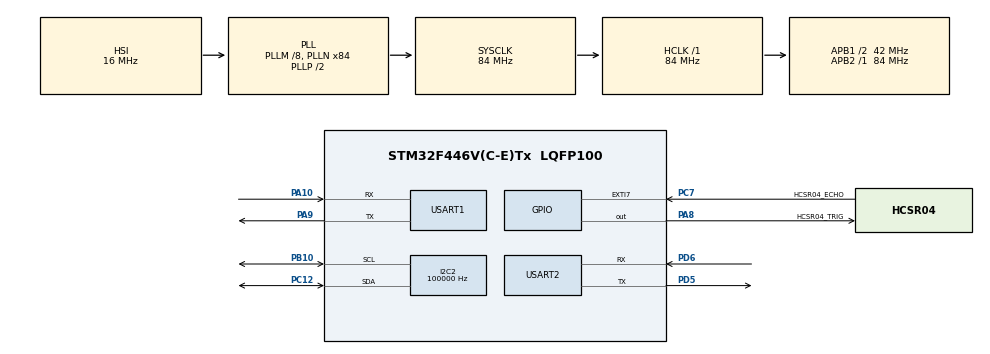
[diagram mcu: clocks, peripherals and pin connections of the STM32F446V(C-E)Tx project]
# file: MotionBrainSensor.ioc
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Mcu.Family=STM32F4
Mcu.Name=STM32F446V(C-E)Tx
Mcu.Package=LQFP100
NVIC.EXTI9_5_IRQn=true\:0\:0\:false\:false\:true\:true\:true\:true
NVIC.PriorityGroup=NVIC_PRIORITYGROUP_4
PA10.Mode=Asynchronous
PA10.Signal=USART1_RX
PA8.GPIO_Label=HCSR04_TRIG
PA8.Signal=GPIO_Output
PA9.Mode=Asynchronous
PA9.Signal=USART1_TX
PB10.Mode=I2C
PB10.Signal=I2C2_SCL
PC7.GPIO_Label=HCSR04_ECHO
PC7.GPIO_ModeDefaultEXTI=GPIO_MODE_IT_RISING_FALLING
PC7.Signal=GPXTI7
PC12.Mode=I2C
PC12.Signal=I2C2_SDA
PD5.Mode=Asynchronous
PD5.Signal=USART2_TX
PD6.Mode=Asynchronous
PD6.Signal=USART2_RX
ProjectManager.HeapSize=0x200
ProjectManager.StackSize=0x400
ProjectManager.TargetToolchain=STM32CubeIDE
I2C2.AddressingMode=I2C_ADDRESSINGMODE_7BIT
I2C2.ClockSpeed=100000
I2C2.DualAddressMode=I2C_DUALADDRESS_DISABLE
I2C2.DutyCycle=I2C_DUTYCYCLE_2
I2C2.GeneralCallMode=I2C_GENERALCALL_DISABLE
I2C2.NoStretchMode=I2C_NOSTRETCH_DISABLE
I2C2.OwnAddress1=0
I2C2.OwnAddress2=0
RCC.AHBFreq_Value=84000000
RCC.APB1CLKDivider=RCC_HCLK_DIV2
RCC.APB1Freq_Value=42000000
RCC.APB1TimFreq_Value=84000000
RCC.APB2Freq_Value=84000000
RCC.APB2TimFreq_Value=84000000
RCC.CortexFreq_Value=84000000
RCC.HCLKFreq_Value=84000000
RCC.PLLM=8
RCC.PLLN=84
RCC.SYSCLKFreq_VALUE=84000000
RCC.SYSCLKSource=RCC_SYSCLKSOURCE_PLLCLK
RCC.USBFreq_Value=84000000
RCC.VCOOutputFreq_Value=168000000
TIM3.AutoReloadPreload=TIM_AUTORELOAD_PRELOAD_ENABLE
TIM3.Period=4999
TIM3.Prescaler=83
USART1.VirtualMode=VM_ASYNC
USART2.VirtualMode=VM_ASYNC
VP_TIM3_VS_ClockSourceINT.Mode=Internal
board=custom
NVIC.TIM3_IRQn=true\:1\:0\:false\:false\:true\:true\:true\:true

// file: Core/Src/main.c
/* USER CODE BEGIN Header */
/**
  ******************************************************************************
  * @file           : main.c
  * @brief          : Main program body
  ******************************************************************************
  * @attention
  *
  * Copyright (c) 2026 STMicroelectronics.
  * All rights reserved.
  *
  * This software is licensed under terms that can be found in the LICENSE file
  * in the root directory of this software component.
  * If no LICENSE file comes with this software, it is provided AS-IS.
  *
  ******************************************************************************
  */
/* USER CODE END Header */
#include "main.h"
#include "i2c.h"
#include "tim.h"
#include "usart.h"
#include "gpio.h"

/* USER CODE BEGIN Includes */
#include "mpu6050.h"
#include <math.h>
#include <stdio.h>
#include <string.h>
/* USER CODE END Includes */

/* USER CODE BEGIN PD */
#define APP_MODE_SENSOR_BRIDGE 0U
#define APP_MODE_TELEOP_REMOTE 1U
#define APP_MODE APP_MODE_TELEOP_REMOTE
#define SAFETY_TELEMETRY_ENABLED ((APP_MODE == APP_MODE_SENSOR_BRIDGE) || (APP_MODE == APP_MODE_TELEOP_REMOTE))
#define TELEOP_DIAGNOSTIC_BUTTON_SCAN 0U

#define MPU_SAMPLE_RATE_HZ 200U
#define SENSOR_TX_RATE_HZ 10U
#define TELEOP_TX_RATE_HZ 25U
#define MPU_CALIBRATION_SAMPLES 400U
#define MPU_FILTER_TAU_SEC 0.5f
#define MPU_BOOT_PROBE_ATTEMPTS 4U
#define MPU_PROBE_RETRY_DELAY_MS 250U
#define MPU_RUNTIME_RETRY_INTERVAL_MS 5000U
#define HCSR04_ENABLED 0U
#define HCSR04_TRIGGER_INTERVAL_MS 100U
#define HCSR04_TIMEOUT_US 30000U
#define HCSR04_MAX_VALID_CM 400.0f
#define HCSR04_CM_PER_US 0.01715f

#define MPU_STATUS_NOT_PROBED 0U
#define MPU_STATUS_READY 1U
#define MPU_STATUS_PROBE_FAIL 2U
#define MPU_STATUS_WHOAMI_FAIL 3U
#define MPU_STATUS_INIT_FAIL 4U
#define MPU_STATUS_CALIB_FAIL 5U
#define MPU_STATUS_READ_FAIL 6U

// Handheld remote v1 provisional button map.
// B-F446E-96B01A에서 현재 바로 꽂기 쉬운 Arduino digital header 기준.
// 현재 사용 중인 D1(UART TX), D2/D3(HC-SR04), D14/D15(I2C2)를 피하고
// 완전히 비어 있는 D9/D10/D11/D13만 버튼 입력으로 사용한다.
#define TELEOP_DEADMAN_GPIO_Port GPIOE
#define TELEOP_DEADMAN_Pin GPIO_PIN_4   // Arduino D10
#define TELEOP_LED_GPIO_Port GPIOB
#define TELEOP_LED_Pin GPIO_PIN_4       // Arduino D9
#define TELEOP_LED_ALT_ENABLED 0U
#define TELEOP_LED_ALT_GPIO_Port GPIOD
#define TELEOP_LED_ALT_Pin GPIO_PIN_15  // Arduino D5 fallback
#define TELEOP_GRIP_OPEN_GPIO_Port GPIOE
#define TELEOP_GRIP_OPEN_Pin GPIO_PIN_2 // Arduino D13
#define TELEOP_GRIP_OPEN_ALT_ENABLED 0U
#define TELEOP_GRIP_OPEN_ALT_GPIO_Port GPIOD
#define TELEOP_GRIP_OPEN_ALT_Pin GPIO_PIN_2 // Arduino D4 fallback
#define TELEOP_GRIP_CLOSE_GPIO_Port GPIOE
#define TELEOP_GRIP_CLOSE_Pin GPIO_PIN_6 // Arduino D11

#define DIAG_G1_D4_GPIO_Port GPIOD
#define DIAG_G1_D4_Pin GPIO_PIN_2
#define DIAG_G1_D5_GPIO_Port GPIOD
#define DIAG_G1_D5_Pin GPIO_PIN_15
#define DIAG_G1_D6_GPIO_Port GPIOD
#define DIAG_G1_D6_Pin GPIO_PIN_14
#define DIAG_G1_D7_GPIO_Port GPIOD
#define DIAG_G1_D7_Pin GPIO_PIN_13
#define DIAG_G1_D8_GPIO_Port GPIOE
#define DIAG_G1_D8_Pin GPIO_PIN_3
#define DIAG_G1_D9_GPIO_Port GPIOB
#define DIAG_G1_D9_Pin GPIO_PIN_4
#define DIAG_G1_D10_GPIO_Port GPIOE
#define DIAG_G1_D10_Pin GPIO_PIN_4
#define DIAG_G1_D11_GPIO_Port GPIOE
#define DIAG_G1_D11_Pin GPIO_PIN_6

#define DIAG_G2_D12_GPIO_Port GPIOE
#define DIAG_G2_D12_Pin GPIO_PIN_5
#define DIAG_G2_D13_GPIO_Port GPIOE
#define DIAG_G2_D13_Pin GPIO_PIN_2
#define DIAG_G2_A0_GPIO_Port GPIOA
#define DIAG_G2_A0_Pin GPIO_PIN_1
#define DIAG_G2_A1_GPIO_Port GPIOA
#define DIAG_G2_A1_Pin GPIO_PIN_2
#define DIAG_G2_A2_GPIO_Port GPIOC
#define DIAG_G2_A2_Pin GPIO_PIN_3
#define DIAG_G2_A3_GPIO_Port GPIOC
#define DIAG_G2_A3_Pin GPIO_PIN_2
#define DIAG_G2_A4_GPIO_Port GPIOB
#define DIAG_G2_A4_Pin GPIO_PIN_1
#define DIAG_G2_A5_GPIO_Port GPIOC
#define DIAG_G2_A5_Pin GPIO_PIN_0

#define DIAG_G3_PA0_GPIO_Port GPIOA
#define DIAG_G3_PA0_Pin GPIO_PIN_0
#define DIAG_G3_PA4_GPIO_Port GPIOA
#define DIAG_G3_PA4_Pin GPIO_PIN_4
#define DIAG_G3_PB0_GPIO_Port GPIOB
#define DIAG_G3_PB0_Pin GPIO_PIN_0

#define TELEOP_BUTTON_ACTIVE_STATE GPIO_PIN_RESET
#define TELEOP_BUTTON_PULL GPIO_PULLUP

#define TELEOP_REACH_SIGN 1.0f
#define TELEOP_LIFT_SIGN 1.0f
#define TELEOP_TWIST_SIGN 1.0f

#define TELEOP_ANGLE_DEADZONE_DEG 6.0f
#define TELEOP_ANGLE_FULL_SCALE_DEG 45.0f
#define TELEOP_TWIST_RATE_DEADZONE_DPS 2.0f
#define TELEOP_TWIST_ANGLE_DEADZONE_DEG 6.0f
#define TELEOP_TWIST_ANGLE_FULL_SCALE_DEG 35.0f
#define TELEOP_TWIST_ANGLE_LIMIT_DEG 60.0f
/* USER CODE END PD */

/* USER CODE BEGIN PV */
static uint16_t g_mpu_addr = 0;
static uint8_t g_mpu_ready = 0;
static uint8_t g_imu_ok = 0;
static uint32_t g_mpu_status = MPU_STATUS_NOT_PROBED;
static uint32_t g_mpu_error = 0;
static uint32_t g_last_mpu_retry_ms = 0;
static volatile uint32_t g_sample_due_count = 0;
static float g_gyro_bias_x_dps = 0.0f;
static float g_gyro_bias_y_dps = 0.0f;
static float g_gyro_bias_z_dps = 0.0f;
static float g_roll_deg = 0.0f;
static float g_pitch_deg = 0.0f;
static float g_gyro_x_dps = 0.0f;
static float g_gyro_y_dps = 0.0f;
static float g_gyro_z_dps = 0.0f;
static float g_vibe = 0.0f;
static uint8_t g_attitude_ready = 0;
#if APP_MODE == APP_MODE_SENSOR_BRIDGE
static uint32_t g_tx_divider = 0;
#endif
#if APP_MODE == APP_MODE_TELEOP_REMOTE
static uint32_t g_last_teleop_tx_ms = 0;
#endif
#if SAFETY_TELEMETRY_ENABLED
static float g_distance_cm = 0.0f;
static uint8_t g_range_ok = HCSR04_ENABLED ? 0U : 1U;
static uint32_t g_last_hcsr04_trigger_ms = 0;
#if HCSR04_ENABLED
static uint32_t g_hcsr04_trigger_started_us = 0;
static volatile uint32_t g_hcsr04_rise_us = 0;
static volatile uint32_t g_hcsr04_echo_width_us = 0;
static volatile uint8_t g_hcsr04_waiting_for_fall = 0;
static volatile uint8_t g_hcsr04_measurement_ready = 0;
#endif
static volatile uint8_t g_hcsr04_echo_pending = 0;
#endif
static uint32_t g_teleop_session = 0;
static uint32_t g_teleop_sequence = 0;
static uint32_t g_teleop_led_toggle_seq = 0;
static uint8_t g_deadman_active = 0;
static uint8_t g_prev_deadman_pressed = 0;
static uint8_t g_prev_led_button_pressed = 0;
static float g_teleop_neutral_roll_deg = 0.0f;
static float g_teleop_neutral_pitch_deg = 0.0f;
static float g_teleop_twist_angle_deg = 0.0f;
/* USER CODE END PV */

void SystemClock_Config(void);

/* USER CODE BEGIN 0 */
// ITM SWV printf 리다이렉트 (SWO 핀 -> STM32CubeIDE SWV Console)
int _write(int file, char *ptr, int len)
{
    (void)file;
    for (int i = 0; i < len; i++) {
        ITM_SendChar((uint32_t)ptr[i]);
    }
    return len;
}

static void EnableCycleCounter(void)
{
    CoreDebug->DEMCR |= CoreDebug_DEMCR_TRCENA_Msk;
    DWT->CYCCNT = 0U;
    DWT->CTRL |= DWT_CTRL_CYCCNTENA_Msk;
}

#if SAFETY_TELEMETRY_ENABLED && HCSR04_ENABLED
static uint32_t Micros(void)
{
    return DWT->CYCCNT / (HAL_RCC_GetHCLKFreq() / 1000000UL);
}

static void DelayUs(uint32_t delay_us)
{
    uint32_t start = Micros();
    while ((Micros() - start) < delay_us) {
    }
}
#endif

static void RecoverI2c2Bus(void)
{
    GPIO_InitTypeDef GPIO_InitStruct = {0};

    __HAL_RCC_GPIOB_CLK_ENABLE();
    __HAL_RCC_GPIOC_CLK_ENABLE();

    GPIO_InitStruct.Mode = GPIO_MODE_OUTPUT_OD;
    GPIO_InitStruct.Pull = GPIO_PULLUP;
    GPIO_InitStruct.Speed = GPIO_SPEED_FREQ_LOW;

    GPIO_InitStruct.Pin = GPIO_PIN_10;
    HAL_GPIO_Init(GPIOB, &GPIO_InitStruct);
    GPIO_InitStruct.Pin = GPIO_PIN_12;
    HAL_GPIO_Init(GPIOC, &GPIO_InitStruct);

    HAL_GPIO_WritePin(GPIOB, GPIO_PIN_10, GPIO_PIN_SET);
    HAL_GPIO_WritePin(GPIOC, GPIO_PIN_12, GPIO_PIN_SET);
    HAL_Delay(2);

    for (uint32_t i = 0; i < 18U && HAL_GPIO_ReadPin(GPIOC, GPIO_PIN_12) == GPIO_PIN_RESET; ++i) {
        HAL_GPIO_WritePin(GPIOB, GPIO_PIN_10, GPIO_PIN_RESET);
        for (volatile uint32_t delay = 0; delay < 120U; ++delay) {
        }
        HAL_GPIO_WritePin(GPIOB, GPIO_PIN_10, GPIO_PIN_SET);
        for (volatile uint32_t delay = 0; delay < 120U; ++delay) {
        }
    }

    HAL_GPIO_WritePin(GPIOC, GPIO_PIN_12, GPIO_PIN_RESET);
    for (volatile uint32_t delay = 0; delay < 120U; ++delay) {
    }
    HAL_GPIO_WritePin(GPIOB, GPIO_PIN_10, GPIO_PIN_SET);
    for (volatile uint32_t delay = 0; delay < 120U; ++delay) {
    }
    HAL_GPIO_WritePin(GPIOC, GPIO_PIN_12, GPIO_PIN_SET);
    HAL_Delay(2);
}

static void ReinitializeI2c2Bus(void)
{
    HAL_StatusTypeDef deinit = HAL_I2C_DeInit(&hi2c2);
    printf("I2C2 deinit before recovery: ret=%d\r\n", deinit);
    RecoverI2c2Bus();
    MX_I2C2_Init();
}

static uint8_t ProbeMpu6050(I2C_HandleTypeDef *hi2c)
{
    const uint16_t addresses[] = {0x68 << 1, 0x69 << 1};
    g_mpu_addr = 0;
    g_mpu_ready = 0;
    g_imu_ok = 0;
    g_mpu_status = MPU_STATUS_PROBE_FAIL;
    g_mpu_error = 0;

    for (size_t i = 0; i < (sizeof(addresses) / sizeof(addresses[0])); ++i) {
        uint16_t addr = addresses[i];
        HAL_StatusTypeDef ready = HAL_I2C_IsDeviceReady(hi2c, addr, 3, 100);
        uint32_t err = HAL_I2C_GetError(hi2c);
        g_mpu_error = err;

        printf("Probe 0x%02X: ready=%d err=0x%08lX\r\n",
               addr >> 1,
               ready,
               (unsigned long)err);

        if (ready != HAL_OK) {
            continue;
        }

        uint8_t who = 0;
        HAL_StatusTypeDef check = MPU6050_Check(hi2c, addr, &who);
        g_mpu_error = HAL_I2C_GetError(hi2c);
        printf("WHO_AM_I@0x%02X: ret=%d who=0x%02X err=0x%08lX\r\n",
               addr >> 1,
               check,
               who,
               (unsigned long)HAL_I2C_GetError(hi2c));

        if (check != HAL_OK) {
            g_mpu_status = MPU_STATUS_WHOAMI_FAIL;
            continue;
        }

        HAL_StatusTypeDef init = MPU6050_InitAt(hi2c, addr);
        g_mpu_error = HAL_I2C_GetError(hi2c);
        printf("Init 0x%02X: ret=%d err=0x%08lX\r\n",
               addr >> 1,
               init,
               (unsigned long)HAL_I2C_GetError(hi2c));

        if (init == HAL_OK) {
            g_mpu_addr = addr;
            g_mpu_ready = 1;
            g_mpu_status = MPU_STATUS_READY;
            return 1U;
        }
        g_mpu_status = MPU_STATUS_INIT_FAIL;
    }

    return 0U;
}

static void PrintFixed3(const char *label, float value)
{
    long scaled = lroundf(value * 1000.0f);
    unsigned long abs_scaled;

    if (scaled < 0) {
        abs_scaled = (unsigned long)(-scaled);
        printf("%s=-%lu.%03lu", label, abs_scaled / 1000UL, abs_scaled % 1000UL);
    } else {
        abs_scaled = (unsigned long)scaled;
        printf("%s=%lu.%03lu", label, abs_scaled / 1000UL, abs_scaled % 1000UL);
    }
}

static void FormatFixedValue(char *buffer, size_t size, float value, uint32_t scale, uint8_t decimals)
{
    long scaled = lroundf(value * (float)scale);
    unsigned long abs_scaled = (scaled < 0) ? (unsigned long)(-scaled) : (unsigned long)scaled;
    unsigned long whole = abs_scaled / scale;
    unsigned long fraction = abs_scaled % scale;
    const char *sign = (scaled < 0) ? "-" : "";

    if (decimals == 1U) {
        snprintf(buffer, size, "%s%lu.%01lu", sign, whole, fraction);
    } else if (decimals == 2U) {
        snprintf(buffer, size, "%s%lu.%02lu", sign, whole, fraction);
    } else {
        snprintf(buffer, size, "%s%lu.%03lu", sign, whole, fraction);
    }
}

static void TransmitFormattedPacket(char *buffer, size_t size, int length)
{
    if (length <= 0 || size == 0U) {
        return;
    }
    if ((size_t)length >= size) {
        return;
    }
    HAL_UART_Transmit(&huart2, (uint8_t *)buffer, (uint16_t)length, 50U);
}

#if SAFETY_TELEMETRY_ENABLED
static void TriggerHcsr04(void)
{
#if HCSR04_ENABLED
    HAL_GPIO_WritePin(HCSR04_TRIG_GPIO_Port, HCSR04_TRIG_Pin, GPIO_PIN_RESET);
    DelayUs(2U);
    HAL_GPIO_WritePin(HCSR04_TRIG_GPIO_Port, HCSR04_TRIG_Pin, GPIO_PIN_SET);
    DelayUs(10U);
    HAL_GPIO_WritePin(HCSR04_TRIG_GPIO_Port, HCSR04_TRIG_Pin, GPIO_PIN_RESET);

    g_hcsr04_trigger_started_us = Micros();
    g_hcsr04_echo_pending = 1U;
    g_hcsr04_waiting_for_fall = 0U;
#else
    g_distance_cm = 0.0f;
    g_range_ok = 1U;
#endif
}

static void UpdateRangeMeasurement(void)
{
#if HCSR04_ENABLED
    uint8_t measurement_ready = 0U;
    uint32_t pulse_width_us = 0U;

    __disable_irq();
    if (g_hcsr04_measurement_ready) {
        measurement_ready = 1U;
        pulse_width_us = g_hcsr04_echo_width_us;
        g_hcsr04_measurement_ready = 0U;
    }
    __enable_irq();

    if (measurement_ready) {
        g_distance_cm = (float)pulse_width_us * HCSR04_CM_PER_US;
        g_range_ok = (g_distance_cm > 0.0f && g_distance_cm <= HCSR04_MAX_VALID_CM) ? 1U : 0U;
        return;
    }

    if (g_hcsr04_echo_pending && (Micros() - g_hcsr04_trigger_started_us) > HCSR04_TIMEOUT_US) {
        g_hcsr04_echo_pending = 0U;
        g_hcsr04_waiting_for_fall = 0U;
        g_range_ok = 0U;
        g_distance_cm = 0.0f;
        printf("HC-SR04 timeout\r\n");
    }
#else
    g_distance_cm = 0.0f;
    g_range_ok = 1U;
#endif
}
#endif

static float ClampUnit(float value)
{
    if (value > 1.0f) {
        return 1.0f;
    }
    if (value < -1.0f) {
        return -1.0f;
    }
    return value;
}

static uint8_t ReadButton(GPIO_TypeDef *port, uint16_t pin)
{
    GPIO_PinState state = HAL_GPIO_ReadPin(port, pin);
    return (state == TELEOP_BUTTON_ACTIVE_STATE) ? 1U : 0U;
}

#if TELEOP_DIAGNOSTIC_BUTTON_SCAN
static uint8_t ReadDiagnosticGroup1Mask(void)
{
    uint8_t mask = 0U;
    if (ReadButton(DIAG_G1_D4_GPIO_Port, DIAG_G1_D4_Pin)) mask |= 0x01U;
    if (ReadButton(DIAG_G1_D5_GPIO_Port, DIAG_G1_D5_Pin)) mask |= 0x02U;
    if (ReadButton(DIAG_G1_D6_GPIO_Port, DIAG_G1_D6_Pin)) mask |= 0x04U;
    if (ReadButton(DIAG_G1_D7_GPIO_Port, DIAG_G1_D7_Pin)) mask |= 0x08U;
    if (ReadButton(DIAG_G1_D8_GPIO_Port, DIAG_G1_D8_Pin)) mask |= 0x10U;
    if (ReadButton(DIAG_G1_D9_GPIO_Port, DIAG_G1_D9_Pin)) mask |= 0x20U;
    if (ReadButton(DIAG_G1_D10_GPIO_Port, DIAG_G1_D10_Pin)) mask |= 0x40U;
    if (ReadButton(DIAG_G1_D11_GPIO_Port, DIAG_G1_D11_Pin)) mask |= 0x80U;
    return mask;
}

static uint8_t ReadDiagnosticGroup2Mask(void)
{
    uint8_t mask = 0U;
    if (ReadButton(DIAG_G2_D12_GPIO_Port, DIAG_G2_D12_Pin)) mask |= 0x01U;
    if (ReadButton(DIAG_G2_D13_GPIO_Port, DIAG_G2_D13_Pin)) mask |= 0x02U;
    if (ReadButton(DIAG_G2_A0_GPIO_Port, DIAG_G2_A0_Pin)) mask |= 0x04U;
    if (ReadButton(DIAG_G2_A1_GPIO_Port, DIAG_G2_A1_Pin)) mask |= 0x08U;
    if (ReadButton(DIAG_G2_A2_GPIO_Port, DIAG_G2_A2_Pin)) mask |= 0x10U;
    if (ReadButton(DIAG_G2_A3_GPIO_Port, DIAG_G2_A3_Pin)) mask |= 0x20U;
    if (ReadButton(DIAG_G2_A4_GPIO_Port, DIAG_G2_A4_Pin)) mask |= 0x40U;
    if (ReadButton(DIAG_G2_A5_GPIO_Port, DIAG_G2_A5_Pin)) mask |= 0x80U;
    return mask;
}

static uint8_t ReadDiagnosticGroup3Mask(void)
{
    uint8_t mask = 0U;
    if (ReadButton(DIAG_G3_PA0_GPIO_Port, DIAG_G3_PA0_Pin)) mask |= 0x01U;
    if (ReadButton(DIAG_G3_PA4_GPIO_Port, DIAG_G3_PA4_Pin)) mask |= 0x02U;
    if (ReadButton(DIAG_G3_PB0_GPIO_Port, DIAG_G3_PB0_Pin)) mask |= 0x04U;
    return mask;
}
#endif

static uint8_t ReadEitherButton(GPIO_TypeDef *primaryPort, uint16_t primaryPin,
                                GPIO_TypeDef *alternatePort, uint16_t alternatePin)
{
    return (ReadButton(primaryPort, primaryPin) || ReadButton(alternatePort, alternatePin)) ? 1U : 0U;
}

static uint8_t ReadButtonWithOptionalAlternate(GPIO_TypeDef *primaryPort, uint16_t primaryPin,
                                               uint8_t alternateEnabled,
                                               GPIO_TypeDef *alternatePort, uint16_t alternatePin)
{
    if (!alternateEnabled) {
        return ReadButton(primaryPort, primaryPin);
    }
    return ReadEitherButton(primaryPort, primaryPin, alternatePort, alternatePin);
}

static void InitTeleopInputs(void)
{
    GPIO_InitTypeDef GPIO_InitStruct = {0};

    __HAL_RCC_GPIOA_CLK_ENABLE();
    __HAL_RCC_GPIOB_CLK_ENABLE();
    __HAL_RCC_GPIOC_CLK_ENABLE();
    __HAL_RCC_GPIOD_CLK_ENABLE();
    __HAL_RCC_GPIOE_CLK_ENABLE();

    GPIO_InitStruct.Mode = GPIO_MODE_INPUT;
    GPIO_InitStruct.Pull = TELEOP_BUTTON_PULL;
    GPIO_InitStruct.Speed = GPIO_SPEED_FREQ_LOW;

    GPIO_InitStruct.Pin = TELEOP_DEADMAN_Pin;
    HAL_GPIO_Init(TELEOP_DEADMAN_GPIO_Port, &GPIO_InitStruct);

    GPIO_InitStruct.Pin = TELEOP_LED_Pin;
    HAL_GPIO_Init(TELEOP_LED_GPIO_Port, &GPIO_InitStruct);

    GPIO_InitStruct.Pin = TELEOP_LED_ALT_Pin;
    HAL_GPIO_Init(TELEOP_LED_ALT_GPIO_Port, &GPIO_InitStruct);

    GPIO_InitStruct.Pin = TELEOP_GRIP_OPEN_Pin;
    HAL_GPIO_Init(TELEOP_GRIP_OPEN_GPIO_Port, &GPIO_InitStruct);

    GPIO_InitStruct.Pin = TELEOP_GRIP_OPEN_ALT_Pin;
    HAL_GPIO_Init(TELEOP_GRIP_OPEN_ALT_GPIO_Port, &GPIO_InitStruct);

    GPIO_InitStruct.Pin = TELEOP_GRIP_CLOSE_Pin;
    HAL_GPIO_Init(TELEOP_GRIP_CLOSE_GPIO_Port, &GPIO_InitStruct);

    GPIO_InitStruct.Pin = DIAG_G1_D4_Pin | DIAG_G1_D5_Pin | DIAG_G1_D6_Pin | DIAG_G1_D7_Pin;
    HAL_GPIO_Init(GPIOD, &GPIO_InitStruct);

    GPIO_InitStruct.Pin = DIAG_G1_D8_Pin | DIAG_G1_D10_Pin | DIAG_G1_D11_Pin |
                          DIAG_G2_D12_Pin | DIAG_G2_D13_Pin;
    HAL_GPIO_Init(GPIOE, &GPIO_InitStruct);

    GPIO_InitStruct.Pin = DIAG_G1_D9_Pin | DIAG_G2_A4_Pin | DIAG_G3_PB0_Pin;
    HAL_GPIO_Init(GPIOB, &GPIO_InitStruct);

    GPIO_InitStruct.Pin = DIAG_G2_A0_Pin | DIAG_G2_A1_Pin | DIAG_G3_PA0_Pin | DIAG_G3_PA4_Pin;
    HAL_GPIO_Init(GPIOA, &GPIO_InitStruct);

    GPIO_InitStruct.Pin = DIAG_G2_A2_Pin | DIAG_G2_A3_Pin | DIAG_G2_A5_Pin;
    HAL_GPIO_Init(GPIOC, &GPIO_InitStruct);
}

static float NormalizeAxis(float value, float deadzone, float fullScale)
{
    float magnitude;
    float normalized;

    if (fullScale <= deadzone) {
        return 0.0f;
    }

    magnitude = fabsf(value);
    if (magnitude <= deadzone) {
        return 0.0f;
    }

    normalized = (magnitude - deadzone) / (fullScale - deadzone);
    if (normalized > 1.0f) {
        normalized = 1.0f;
    }

    return (value >= 0.0f) ? normalized : -normalized;
}

static void UpdateTeleopTwistAngle(float dt_sec)
{
#if APP_MODE == APP_MODE_TELEOP_REMOTE
    if (!g_deadman_active || !g_imu_ok) {
        if (!g_deadman_active) {
            g_teleop_twist_angle_deg = 0.0f;
        }
        return;
    }

    float twist_rate_dps = g_gyro_z_dps * TELEOP_TWIST_SIGN;
    if (fabsf(twist_rate_dps) <= TELEOP_TWIST_RATE_DEADZONE_DPS) {
        return;
    }

    g_teleop_twist_angle_deg += twist_rate_dps * dt_sec;
    if (g_teleop_twist_angle_deg > TELEOP_TWIST_ANGLE_LIMIT_DEG) {
        g_teleop_twist_angle_deg = TELEOP_TWIST_ANGLE_LIMIT_DEG;
    } else if (g_teleop_twist_angle_deg < -TELEOP_TWIST_ANGLE_LIMIT_DEG) {
        g_teleop_twist_angle_deg = -TELEOP_TWIST_ANGLE_LIMIT_DEG;
    }
#else
    (void)dt_sec;
#endif
}

static float GetTeleopTwistCommand(void)
{
    return NormalizeAxis(g_teleop_twist_angle_deg,
                         TELEOP_TWIST_ANGLE_DEADZONE_DEG,
                         TELEOP_TWIST_ANGLE_FULL_SCALE_DEG);
}

static void UpdateTeleopState(void)
{
#if TELEOP_DIAGNOSTIC_BUTTON_SCAN
    g_deadman_active = 0U;
    g_prev_deadman_pressed = 0U;
    g_prev_led_button_pressed = 0U;
    return;
#endif

    uint8_t deadman_pressed = ReadButton(TELEOP_DEADMAN_GPIO_Port, TELEOP_DEADMAN_Pin);
    uint8_t led_pressed = ReadButtonWithOptionalAlternate(TELEOP_LED_GPIO_Port, TELEOP_LED_Pin,
                                                          TELEOP_LED_ALT_ENABLED,
                                                          TELEOP_LED_ALT_GPIO_Port, TELEOP_LED_ALT_Pin);

    if (deadman_pressed && !g_prev_deadman_pressed) {
        g_teleop_session++;
        g_teleop_neutral_roll_deg = g_roll_deg;
        g_teleop_neutral_pitch_deg = g_pitch_deg;
        g_teleop_twist_angle_deg = 0.0f;
        g_deadman_active = 1U;
        printf("Teleop session=%lu ", (unsigned long)g_teleop_session);
        PrintFixed3("neutral_roll", g_teleop_neutral_roll_deg);
        printf(" ");
        PrintFixed3("neutral_pitch", g_teleop_neutral_pitch_deg);
        printf("\r\n");
    } else if (!deadman_pressed) {
        g_deadman_active = 0U;
        g_teleop_twist_angle_deg = 0.0f;
    }

    if (led_pressed && !g_prev_led_button_pressed) {
        g_teleop_led_toggle_seq++;
    }

    g_prev_deadman_pressed = deadman_pressed;
    g_prev_led_button_pressed = led_pressed;
}

static void SendTeleopPacket(void)
{
    char reach_str[24];
    char lift_str[24];
    char twist_str[24];
    char roll_str[24];
    char pitch_str[24];
    char gyro_x_str[24];
    char gyro_y_str[24];
    char gyro_z_str[24];
    char vibe_str[24];
    char dist_str[24];
    char tx_buffer[512];
    int length;
    float reach = 0.0f;
    float lift = 0.0f;
    float twist = 0.0f;
    uint32_t frame_sequence = g_teleop_sequence;
    uint32_t frame_session = g_teleop_session;
    uint32_t frame_led_toggle_seq = g_teleop_led_toggle_seq;
    uint8_t grip_open = ReadButtonWithOptionalAlternate(TELEOP_GRIP_OPEN_GPIO_Port, TELEOP_GRIP_OPEN_Pin,
                                                        TELEOP_GRIP_OPEN_ALT_ENABLED,
                                                        TELEOP_GRIP_OPEN_ALT_GPIO_Port, TELEOP_GRIP_OPEN_ALT_Pin);
    uint8_t grip_close = ReadButton(TELEOP_GRIP_CLOSE_GPIO_Port, TELEOP_GRIP_CLOSE_Pin);

    UpdateTeleopState();

#if TELEOP_DIAGNOSTIC_BUTTON_SCAN
    frame_session = ReadDiagnosticGroup1Mask();
    frame_sequence = ReadDiagnosticGroup2Mask();
    frame_led_toggle_seq = ReadDiagnosticGroup3Mask();
    grip_open = 0U;
    grip_close = 0U;
#else
    if (g_deadman_active && g_imu_ok) {
        reach = NormalizeAxis((g_pitch_deg - g_teleop_neutral_pitch_deg) * TELEOP_REACH_SIGN,
                              TELEOP_ANGLE_DEADZONE_DEG,
                              TELEOP_ANGLE_FULL_SCALE_DEG);
        lift = NormalizeAxis((g_roll_deg - g_teleop_neutral_roll_deg) * TELEOP_LIFT_SIGN,
                             TELEOP_ANGLE_DEADZONE_DEG,
                             TELEOP_ANGLE_FULL_SCALE_DEG);
        twist = GetTeleopTwistCommand();
    }
#endif

    reach = ClampUnit(reach);
    lift = ClampUnit(lift);
    twist = ClampUnit(twist);

    FormatFixedValue(reach_str, sizeof(reach_str), reach, 1000U, 3U);
    FormatFixedValue(lift_str, sizeof(lift_str), lift, 1000U, 3U);
    FormatFixedValue(twist_str, sizeof(twist_str), twist, 1000U, 3U);
    FormatFixedValue(roll_str, sizeof(roll_str), g_roll_deg, 1000U, 3U);
    FormatFixedValue(pitch_str, sizeof(pitch_str), g_pitch_deg, 1000U, 3U);
    FormatFixedValue(gyro_x_str, sizeof(gyro_x_str), g_gyro_x_dps, 1000U, 3U);
    FormatFixedValue(gyro_y_str, sizeof(gyro_y_str), g_gyro_y_dps, 1000U, 3U);
    FormatFixedValue(gyro_z_str, sizeof(gyro_z_str), g_gyro_z_dps, 1000U, 3U);
    FormatFixedValue(vibe_str, sizeof(vibe_str), g_vibe, 100U, 2U);
    FormatFixedValue(dist_str, sizeof(dist_str), g_distance_cm, 10U, 1U);

    if (!TELEOP_DIAGNOSTIC_BUTTON_SCAN) {
        g_teleop_sequence++;
        frame_sequence = g_teleop_sequence;
        frame_session = g_teleop_session;
        frame_led_toggle_seq = g_teleop_led_toggle_seq;
    }
    length = snprintf(tx_buffer,
                      sizeof(tx_buffer),
                      "{\"type\":\"teleop\",\"ts_ms\":%lu,\"seq\":%lu,\"session\":%lu,"
                      "\"deadman\":%s,\"reach\":%s,\"lift\":%s,\"twist\":%s,"
                      "\"grip_open\":%s,\"grip_close\":%s,\"led_toggle_seq\":%lu,"
                      "\"imu_ok\":%s,\"range_ok\":%s,\"roll\":%s,\"pitch\":%s,"
                      "\"gyro_x\":%s,\"gyro_y\":%s,\"gyro_z\":%s,\"vibe\":%s,\"dist_cm\":%s,"
                      "\"imu_status\":%lu,\"imu_addr\":%lu,\"imu_error\":%lu,"
                      "\"i2c_scl\":%s,\"i2c_sda\":%s}\r\n",
                      (unsigned long)HAL_GetTick(),
                      (unsigned long)frame_sequence,
                      (unsigned long)frame_session,
                      g_deadman_active ? "true" : "false",
                      reach_str,
                      lift_str,
                      twist_str,
                      grip_open ? "true" : "false",
                      grip_close ? "true" : "false",
                      (unsigned long)frame_led_toggle_seq,
                      g_imu_ok ? "true" : "false",
                      g_range_ok ? "true" : "false",
                      roll_str,
                      pitch_str,
                      gyro_x_str,
                      gyro_y_str,
                      gyro_z_str,
                      vibe_str,
                      dist_str,
                      (unsigned long)g_mpu_status,
                      (unsigned long)(g_mpu_addr >> 1),
                      (unsigned long)g_mpu_error,
                      HAL_GPIO_ReadPin(GPIOB, GPIO_PIN_10) == GPIO_PIN_SET ? "true" : "false",
                      HAL_GPIO_ReadPin(GPIOC, GPIO_PIN_12) == GPIO_PIN_SET ? "true" : "false");

    TransmitFormattedPacket(tx_buffer, sizeof(tx_buffer), length);
}

static void PrintTeleopToSwv(void)
{
    float reach = 0.0f;
    float lift = 0.0f;
    float twist = 0.0f;

#if TELEOP_DIAGNOSTIC_BUTTON_SCAN
    reach = 0.0f;
    lift = 0.0f;
    twist = 0.0f;
#else
    if (g_deadman_active && g_imu_ok) {
        reach = NormalizeAxis((g_pitch_deg - g_teleop_neutral_pitch_deg) * TELEOP_REACH_SIGN,
                              TELEOP_ANGLE_DEADZONE_DEG,
                              TELEOP_ANGLE_FULL_SCALE_DEG);
        lift = NormalizeAxis((g_roll_deg - g_teleop_neutral_roll_deg) * TELEOP_LIFT_SIGN,
                             TELEOP_ANGLE_DEADZONE_DEG,
                             TELEOP_ANGLE_FULL_SCALE_DEG);
        twist = GetTeleopTwistCommand();
    }
#endif

    printf("teleop session=%lu deadman=%d ",
           (unsigned long)g_teleop_session,
           g_deadman_active);
    PrintFixed3("reach", reach);
    printf(" ");
    PrintFixed3("lift", lift);
    printf(" ");
    PrintFixed3("twist", twist);
    printf(" grip_open=%d grip_close=%d led_seq=%lu\r\n",
           ReadButtonWithOptionalAlternate(TELEOP_GRIP_OPEN_GPIO_Port, TELEOP_GRIP_OPEN_Pin,
                                           TELEOP_GRIP_OPEN_ALT_ENABLED,
                                           TELEOP_GRIP_OPEN_ALT_GPIO_Port, TELEOP_GRIP_OPEN_ALT_Pin),
           ReadButton(TELEOP_GRIP_CLOSE_GPIO_Port, TELEOP_GRIP_CLOSE_Pin),
           (unsigned long)g_teleop_led_toggle_seq);
}

#if APP_MODE == APP_MODE_SENSOR_BRIDGE
static void SendSensorPacket(void)
{
    char roll_str[24];
    char pitch_str[24];
    char gyro_x_str[24];
    char gyro_y_str[24];
    char gyro_z_str[24];
    char vibe_str[24];
    char dist_str[24];
    char tx_buffer[256];
    int length;

    FormatFixedValue(roll_str, sizeof(roll_str), g_roll_deg, 1000U, 3U);
    FormatFixedValue(pitch_str, sizeof(pitch_str), g_pitch_deg, 1000U, 3U);
    FormatFixedValue(gyro_x_str, sizeof(gyro_x_str), g_gyro_x_dps, 1000U, 3U);
    FormatFixedValue(gyro_y_str, sizeof(gyro_y_str), g_gyro_y_dps, 1000U, 3U);
    FormatFixedValue(gyro_z_str, sizeof(gyro_z_str), g_gyro_z_dps, 1000U, 3U);
    FormatFixedValue(vibe_str, sizeof(vibe_str), g_vibe, 100U, 2U);
    FormatFixedValue(dist_str, sizeof(dist_str), g_distance_cm, 10U, 1U);

    length = snprintf(tx_buffer,
                      sizeof(tx_buffer),
                      "{\"type\":\"sensor\",\"ts_ms\":%lu,\"imu_ok\":%s,\"range_ok\":%s,"
                      "\"roll\":%s,\"pitch\":%s,\"gyro_x\":%s,\"gyro_y\":%s,\"gyro_z\":%s,"
                      "\"vibe\":%s,\"dist_cm\":%s}\r\n",
                      (unsigned long)HAL_GetTick(),
                      g_imu_ok ? "true" : "false",
                      g_range_ok ? "true" : "false",
                      roll_str,
                      pitch_str,
                      gyro_x_str,
                      gyro_y_str,
                      gyro_z_str,
                      vibe_str,
                      dist_str);

    TransmitFormattedPacket(tx_buffer, sizeof(tx_buffer), length);
}

static void PrintTelemetryToSwv(void)
{
    printf("MPU 0x%02X ", g_mpu_addr >> 1);
    PrintFixed3("roll", g_roll_deg);
    printf(" ");
    PrintFixed3("pitch", g_pitch_deg);
    printf(" ");
    PrintFixed3("gyro_x", g_gyro_x_dps);
    printf(" ");
    PrintFixed3("gyro_y", g_gyro_y_dps);
    printf(" ");
    PrintFixed3("gyro_z", g_gyro_z_dps);
    printf(" ");
    PrintFixed3("vibe", g_vibe);
    printf(" ");
    PrintFixed3("dist_cm", g_distance_cm);
    printf(" range_ok=%d\r\n", g_range_ok);
}
#endif

static HAL_StatusTypeDef CalibrateMpu6050(I2C_HandleTypeDef *hi2c)
{
    float sum_gx = 0.0f;
    float sum_gy = 0.0f;
    float sum_gz = 0.0f;
    float sum_roll_acc = 0.0f;
    float sum_pitch_acc = 0.0f;

    printf("Calibrating gyro: keep sensor still...\r\n");

    for (uint32_t i = 0; i < MPU_CALIBRATION_SAMPLES; ++i) {
        MPU6050_Sample sample = {0};
        HAL_StatusTypeDef ret = MPU6050_ReadSampleAt(hi2c, g_mpu_addr, &sample);
        if (ret != HAL_OK) {
            printf("Calibration read failed: ret=%d err=0x%08lX\r\n",
                   ret,
                   (unsigned long)HAL_I2C_GetError(hi2c));
            return ret;
        }

        sum_gx += sample.gx_dps;
        sum_gy += sample.gy_dps;
        sum_gz += sample.gz_dps;
        sum_roll_acc += sample.roll_acc;
        sum_pitch_acc += sample.pitch_acc;
        HAL_Delay(1000U / MPU_SAMPLE_RATE_HZ);
    }

    g_gyro_bias_x_dps = sum_gx / (float)MPU_CALIBRATION_SAMPLES;
    g_gyro_bias_y_dps = sum_gy / (float)MPU_CALIBRATION_SAMPLES;
    g_gyro_bias_z_dps = sum_gz / (float)MPU_CALIBRATION_SAMPLES;
    g_roll_deg = sum_roll_acc / (float)MPU_CALIBRATION_SAMPLES;
    g_pitch_deg = sum_pitch_acc / (float)MPU_CALIBRATION_SAMPLES;
    g_attitude_ready = 1;
    g_imu_ok = 1;

    PrintFixed3("gyro_bias_x_dps", g_gyro_bias_x_dps);
    printf(" ");
    PrintFixed3("gyro_bias_y_dps", g_gyro_bias_y_dps);
    printf(" ");
    PrintFixed3("gyro_bias_z_dps", g_gyro_bias_z_dps);
    printf("\r\n");
    PrintFixed3("initial_roll", g_roll_deg);
    printf(" ");
    PrintFixed3("initial_pitch", g_pitch_deg);
    printf("\r\n");

    return HAL_OK;
}

static uint8_t InitializeMpu6050WithRetries(I2C_HandleTypeDef *hi2c,
                                            uint32_t attempts,
                                            uint8_t recover_before_first)
{
    if (attempts == 0U) {
        return 0U;
    }

    for (uint32_t attempt = 0; attempt < attempts; ++attempt) {
        if (recover_before_first || attempt > 0U) {
            uint32_t delay_ms = MPU_PROBE_RETRY_DELAY_MS * (attempt + 1U);
            ReinitializeI2c2Bus();
            HAL_Delay(delay_ms);
        }

        printf("MPU-6050 probe attempt %lu/%lu\r\n",
               (unsigned long)(attempt + 1U),
               (unsigned long)attempts);

        if (!ProbeMpu6050(hi2c)) {
            continue;
        }

        g_attitude_ready = 0U;
        if (CalibrateMpu6050(hi2c) == HAL_OK) {
            __disable_irq();
            g_sample_due_count = 0U;
            __enable_irq();
            g_last_mpu_retry_ms = HAL_GetTick();
            return 1U;
        }

        g_mpu_ready = 0U;
        g_imu_ok = 0U;
        g_mpu_status = MPU_STATUS_CALIB_FAIL;
        g_mpu_error = HAL_I2C_GetError(hi2c);
        printf("MPU-6050 calibration failed: err=0x%08lX\r\n",
               (unsigned long)g_mpu_error);
    }

    g_last_mpu_retry_ms = HAL_GetTick();
    return 0U;
}

static HAL_StatusTypeDef ProcessMpu6050Sample(I2C_HandleTypeDef *hi2c)
{
    const float dt_sec = 1.0f / (float)MPU_SAMPLE_RATE_HZ;
    const float alpha = MPU_FILTER_TAU_SEC / (MPU_FILTER_TAU_SEC + dt_sec);
    MPU6050_Sample sample = {0};
    HAL_StatusTypeDef ret = MPU6050_ReadSampleAt(hi2c, g_mpu_addr, &sample);

    if (ret != HAL_OK) {
        g_imu_ok = 0;
        g_mpu_status = MPU_STATUS_READ_FAIL;
        g_mpu_error = HAL_I2C_GetError(hi2c);
        return ret;
    }

    g_imu_ok = 1;
    g_mpu_status = MPU_STATUS_READY;
    g_mpu_error = 0;
    g_gyro_x_dps = sample.gx_dps - g_gyro_bias_x_dps;
    g_gyro_y_dps = sample.gy_dps - g_gyro_bias_y_dps;
    g_gyro_z_dps = sample.gz_dps - g_gyro_bias_z_dps;
    g_vibe = sqrtf((g_gyro_x_dps * g_gyro_x_dps) +
                   (g_gyro_y_dps * g_gyro_y_dps) +
                   (g_gyro_z_dps * g_gyro_z_dps));

    UpdateTeleopTwistAngle(dt_sec);

    if (!g_attitude_ready) {
        g_roll_deg = sample.roll_acc;
        g_pitch_deg = sample.pitch_acc;
        g_attitude_ready = 1;
    } else {
        g_roll_deg = alpha * (g_roll_deg + g_gyro_x_dps * dt_sec) +
                     (1.0f - alpha) * sample.roll_acc;
        g_pitch_deg = alpha * (g_pitch_deg + g_gyro_y_dps * dt_sec) +
                      (1.0f - alpha) * sample.pitch_acc;
    }

#if APP_MODE == APP_MODE_TELEOP_REMOTE
    /* Teleop packets are emitted from the main loop so the UART heartbeat
       continues even when IMU init/readout is unhealthy. */
#else
    g_tx_divider++;
    if (g_tx_divider >= (MPU_SAMPLE_RATE_HZ / SENSOR_TX_RATE_HZ)) {
        g_tx_divider = 0U;
        SendSensorPacket();
        PrintTelemetryToSwv();
    }
#endif

    return HAL_OK;
}
/* USER CODE END 0 */

int main(void)
{

  /* MCU Configuration--------------------------------------------------------*/

  /* Reset of all peripherals, Initializes the Flash interface and the Systick. */
  HAL_Init();

  /* Configure the system clock */
  SystemClock_Config();

  /* Initialize all configured peripherals */
  MX_GPIO_Init();
  RecoverI2c2Bus();
  MX_I2C2_Init();
  MX_TIM3_Init();
  MX_USART1_UART_Init();
  MX_USART2_UART_Init();
  /* USER CODE BEGIN 2 */
  EnableCycleCounter();
  HAL_Delay(200);

  printf("\r\nMotionBrainSensor boot\r\n");
#if APP_MODE == APP_MODE_TELEOP_REMOTE
  printf("Mode: handheld teleop remote\r\n");
  printf("UART teleop stream: USART2 TX=PD5 (Arduino D1) @ 115200\r\n");
  printf("Embedded safety telemetry: imu/range/vibe/dist fields included in teleop frames\r\n");
  printf("HC-SR04 mapping: TRIG=PD4 (Arduino D2), ECHO=PC8 (Arduino D3)\r\n");
#if TELEOP_DIAGNOSTIC_BUTTON_SCAN
  printf("Diagnostic scan mode: session=D4/D5/D6/D7/D8/D9/D10/D11, sequence=D12/D13/A0/A1/A2/A3/A4/A5, led_seq=PA0/PA4/PB0 bits\r\n");
#endif
  printf("Provisional button map: deadman=PE4(D10) led=PB4(D9) grip_open=PE2(D13) grip_close=PE6(D11)\r\n");
  InitTeleopInputs();
#else
  printf("Board mapping: D15=PB10 (I2C2_SCL), D14=PC12 (I2C2_SDA)\r\n");
  printf("UART sensor stream: USART2 TX=PD5 (Arduino D1) @ 115200\r\n");
  printf("HC-SR04 mapping: TRIG=PD4 (Arduino D2), ECHO=PC8 (Arduino D3)\r\n");
#endif

  if (!InitializeMpu6050WithRetries(&hi2c2, MPU_BOOT_PROBE_ATTEMPTS, 0U)) {
    printf("MPU-6050 not detected on I2C2.\r\n");
  }

  printf("Probe done. Check SWV and USART2 stream.\r\n");
  HAL_TIM_Base_Start_IT(&htim3);
  /* USER CODE END 2 */

  /* Infinite loop */
  while (1)
  {

    /* USER CODE BEGIN 3 */
#if SAFETY_TELEMETRY_ENABLED
    if ((HAL_GetTick() - g_last_hcsr04_trigger_ms) >= HCSR04_TRIGGER_INTERVAL_MS && !g_hcsr04_echo_pending) {
      TriggerHcsr04();
      g_last_hcsr04_trigger_ms = HAL_GetTick();
    }

    UpdateRangeMeasurement();
#endif

    if (!g_mpu_ready &&
        (HAL_GetTick() - g_last_mpu_retry_ms) >= MPU_RUNTIME_RETRY_INTERVAL_MS) {
      printf("Retrying MPU-6050 after boot-time failure.\r\n");
      InitializeMpu6050WithRetries(&hi2c2, 1U, 1U);
    }

    if (g_mpu_ready && g_sample_due_count > 0U) {
      uint32_t pending_samples;

      __disable_irq();
      pending_samples = g_sample_due_count;
      g_sample_due_count = 0U;
      __enable_irq();

      while (pending_samples-- > 0U) {
        HAL_StatusTypeDef ret = ProcessMpu6050Sample(&hi2c2);
        if (ret != HAL_OK) {
          printf("MPU 0x%02X read failed: ret=%d err=0x%08lX\r\n",
                 g_mpu_addr >> 1,
                 ret,
                 (unsigned long)HAL_I2C_GetError(&hi2c2));
          break;
        }
      }
    }

#if APP_MODE == APP_MODE_TELEOP_REMOTE
    if ((HAL_GetTick() - g_last_teleop_tx_ms) >= (1000U / TELEOP_TX_RATE_HZ)) {
      g_last_teleop_tx_ms = HAL_GetTick();
      SendTeleopPacket();
      PrintTeleopToSwv();
    }
#endif
  }
  /* USER CODE END 3 */
}

void SystemClock_Config(void)
{
  RCC_OscInitTypeDef RCC_OscInitStruct = {0};
  RCC_ClkInitTypeDef RCC_ClkInitStruct = {0};

  /** Configure the main internal regulator output voltage
  */
  __HAL_RCC_PWR_CLK_ENABLE();
  __HAL_PWR_VOLTAGESCALING_CONFIG(PWR_REGULATOR_VOLTAGE_SCALE3);

  /** Initializes the RCC Oscillators according to the specified parameters
  * in the RCC_OscInitTypeDef structure.
  */
  RCC_OscInitStruct.OscillatorType = RCC_OSCILLATORTYPE_HSI;
  RCC_OscInitStruct.HSIState = RCC_HSI_ON;
  RCC_OscInitStruct.HSICalibrationValue = RCC_HSICALIBRATION_DEFAULT;
  RCC_OscInitStruct.PLL.PLLState = RCC_PLL_ON;
  RCC_OscInitStruct.PLL.PLLSource = RCC_PLLSOURCE_HSI;
  RCC_OscInitStruct.PLL.PLLM = 8;
  RCC_OscInitStruct.PLL.PLLN = 84;
  RCC_OscInitStruct.PLL.PLLP = RCC_PLLP_DIV2;
  RCC_OscInitStruct.PLL.PLLQ = 2;
  RCC_OscInitStruct.PLL.PLLR = 2;
  if (HAL_RCC_OscConfig(&RCC_OscInitStruct) != HAL_OK)
  {
    Error_Handler();
  }

  /** Initializes the CPU, AHB and APB buses clocks
  */
  RCC_ClkInitStruct.ClockType = RCC_CLOCKTYPE_HCLK|RCC_CLOCKTYPE_SYSCLK
                              |RCC_CLOCKTYPE_PCLK1|RCC_CLOCKTYPE_PCLK2;
  RCC_ClkInitStruct.SYSCLKSource = RCC_SYSCLKSOURCE_PLLCLK;
  RCC_ClkInitStruct.AHBCLKDivider = RCC_SYSCLK_DIV1;
  RCC_ClkInitStruct.APB1CLKDivider = RCC_HCLK_DIV2;
  RCC_ClkInitStruct.APB2CLKDivider = RCC_HCLK_DIV1;

  if (HAL_RCC_ClockConfig(&RCC_ClkInitStruct, FLASH_LATENCY_2) != HAL_OK)
  {
    Error_Handler();
  }
}

/* USER CODE BEGIN 4 */
void HAL_TIM_PeriodElapsedCallback(TIM_HandleTypeDef *htim)
{
  if (htim->Instance == TIM3) {
    g_sample_due_count++;
  }
}

#if SAFETY_TELEMETRY_ENABLED && HCSR04_ENABLED
void HAL_GPIO_EXTI_Callback(uint16_t GPIO_Pin)
{
    if (GPIO_Pin == HCSR04_ECHO_Pin) {
        uint32_t now_us = Micros();

        if (HAL_GPIO_ReadPin(HCSR04_ECHO_GPIO_Port, HCSR04_ECHO_Pin) == GPIO_PIN_SET) {
            g_hcsr04_rise_us = now_us;
            g_hcsr04_waiting_for_fall = 1U;
        } else if (g_hcsr04_waiting_for_fall) {
            g_hcsr04_echo_width_us = now_us - g_hcsr04_rise_us;
            g_hcsr04_waiting_for_fall = 0U;
            g_hcsr04_echo_pending = 0U;
            g_hcsr04_measurement_ready = 1U;
        }
    }
}
#endif

/* USER CODE END 4 */

void Error_Handler(void)
{
  __disable_irq();
  while (1)
  {
  }
}
